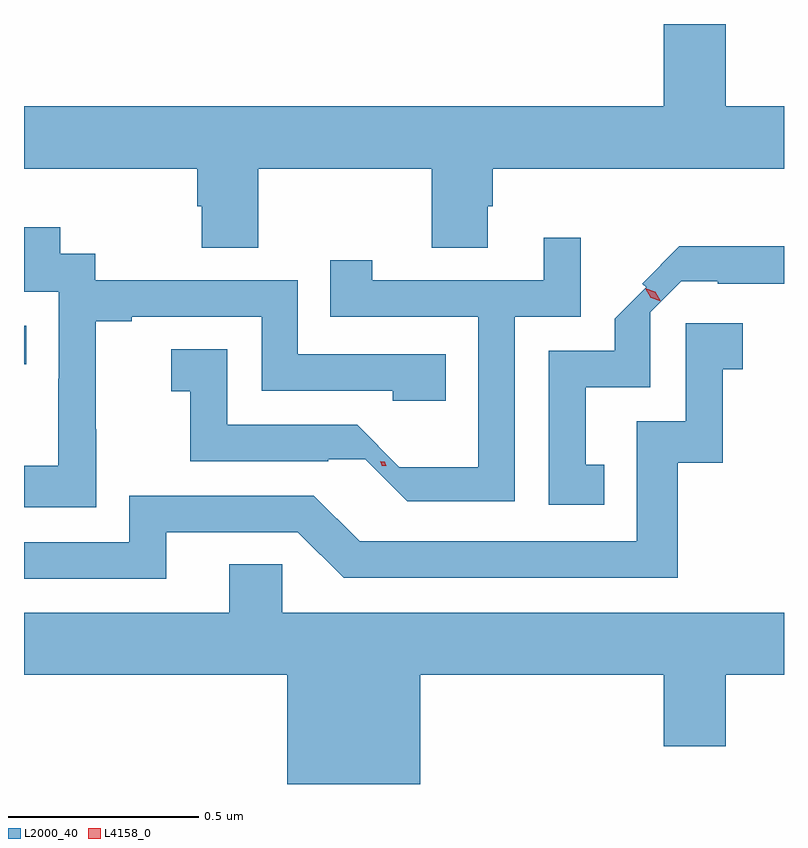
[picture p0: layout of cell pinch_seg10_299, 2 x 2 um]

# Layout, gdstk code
import gdstk
lib = gdstk.Library(unit=1e-6, precision=1e-09)
def R(c, l, rs):  # rectangles x0, y0, x1, y1
    for r in rs: c.add(gdstk.rectangle(r[:2], r[2:], *l))
def P(c, l, *ps):  # polygons
    for p in ps: c.add(gdstk.Polygon(p, *l))
L2000_40 = (2000, 40)
L4158_0 = (4158, 0)

pinch_seg10_299 = lib.new_cell('pinch_seg10_299')
R(pinch_seg10_299, L2000_40, [(498.989,1318.45,498.995,1318.551)])
P(pinch_seg10_299, L2000_40, [(499.605,1318.964),(500.062,1318.964),(500.062,1318.756),(500.209,1318.756),(500.209,1318.866),(500.222,1318.866),(500.222,1318.964),(500.989,1318.964),(500.989,1319.128),(500.836,1319.128),(500.836,1319.345),(500.672,1319.345),(500.672,1319.128),(498.989,1319.128),(498.989,1318.964),(499.445,1318.964),(499.445,1318.866),(499.457,1318.866),(499.457,1318.756),(499.605,1318.756)],
  [(499.179,1318.279),(499.178,1318.279),(499.178,1318.563),(499.273,1318.563),(499.273,1318.575),(499.614,1318.575),(499.614,1318.38),(499.959,1318.38),(499.959,1318.353),(500.099,1318.353),(500.099,1318.476),(499.71,1318.476),(499.71,1318.671),(499.176,1318.671),(499.176,1318.74),(499.084,1318.74),(499.084,1318.81),(498.989,1318.81),(498.989,1318.641),(499.08,1318.641),(499.08,1318.412),(499.079,1318.412),(499.079,1318.183),(498.989,1318.183),(498.989,1318.073),(499.179,1318.073)],
  [(500.28,1318.575),(500.454,1318.575),(500.454,1318.783),(500.357,1318.783),(500.357,1318.671),(499.906,1318.671),(499.906,1318.723),(499.795,1318.723),(499.795,1318.575),(500.184,1318.575),(500.184,1318.179),(499.977,1318.179),(499.866,1318.29),(499.524,1318.29),(499.524,1318.489),(499.377,1318.489),(499.377,1318.379),(499.426,1318.379),(499.426,1318.194),(499.79,1318.194),(499.79,1318.2),(499.887,1318.2),(499.998,1318.089),(500.28,1318.089)],
  [(500.516,1318.185),(500.467,1318.185),(500.467,1318.389),(500.637,1318.389),(500.637,1318.587),(500.718,1318.668),(500.815,1318.668),(500.815,1318.662),(500.989,1318.662),(500.989,1318.76),(500.713,1318.76),(500.616,1318.662),(500.626,1318.652),(500.544,1318.57),(500.544,1318.485),(500.37,1318.485),(500.37,1318.08),(500.516,1318.08)],
  [(499.363,1318.008),(499.71,1318.008),(499.83,1317.888),(500.71,1317.888),(500.71,1318.191),(500.828,1318.191),(500.828,1318.437),(500.881,1318.437),(500.881,1318.558),(500.73,1318.558),(500.73,1318.299),(500.601,1318.299),(500.601,1317.984),(499.872,1317.984),(499.752,1318.104),(499.266,1318.104),(499.266,1317.981),(498.989,1317.981),(498.989,1317.885),(499.363,1317.885)],
  [(500.032,1317.632),(500.672,1317.632),(500.672,1317.444),(500.836,1317.444),(500.836,1317.632),(500.989,1317.632),(500.989,1317.796),(499.668,1317.796),(499.668,1317.923),(499.529,1317.923),(499.529,1317.796),(498.989,1317.796),(498.989,1317.632),(499.682,1317.632),(499.682,1317.345),(500.032,1317.345)])
P(pinch_seg10_299, L4158_0, [(500.664,1318.616),(500.638,1318.625),(500.624,1318.65),(500.624,1318.65),(500.624,1318.65),(500.65,1318.64),(500.665,1318.616),(500.665,1318.616)],
  [(499.942,1318.182),(499.93,1318.183),(499.93,1318.183),(499.93,1318.184),(499.926,1318.194),(499.937,1318.193),(499.938,1318.193),(499.938,1318.193)])

lib.write_gds('pinch_seg10_299.gds')
